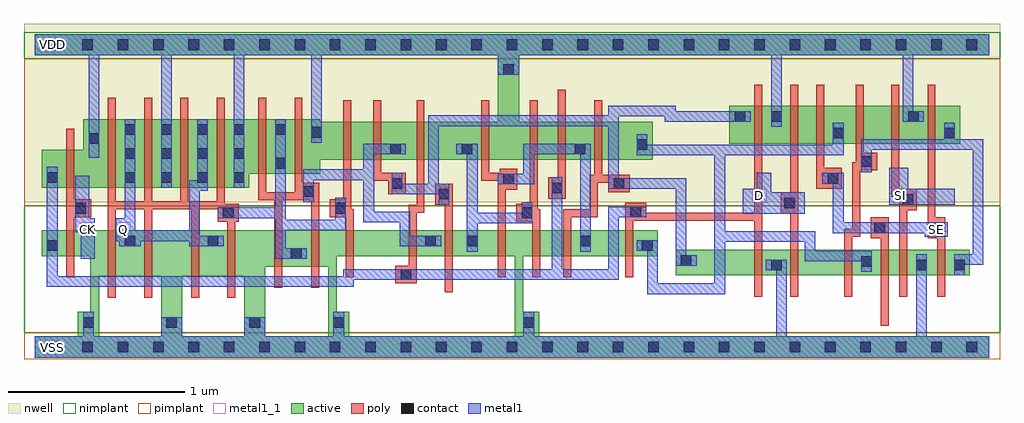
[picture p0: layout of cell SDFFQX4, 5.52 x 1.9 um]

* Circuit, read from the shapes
.subckt SDFFQX4 CK D Q SE SI VDD VSS
M1 VSS CK n1 VSS nfet w=0.145u l=0.045u
M2 Q n2 VSS VSS nfet w=0.26u l=0.045u m=4
M3 n2 n3 VSS VSS nfet w=0.205u l=0.045u m=2
M4 n4 n2 VSS VSS nfet w=0.145u l=0.045u
M5 n3 n1 n4 VSS nfet w=0.145u l=0.045u
M6 n5 n6 n3 VSS nfet w=0.145u l=0.045u
M7 VSS n7 n5 VSS nfet w=0.145u l=0.045u
M8 n8 n5 VSS VSS nfet w=0.145u l=0.045u
M9 n7 n6 n8 VSS nfet w=0.145u l=0.045u
M10 n9 n1 n7 VSS nfet w=0.145u l=0.045u
M11 VSS n1 n6 VSS nfet w=0.145u l=0.045u
M12 n10 D VSS VSS nfet w=0.145u l=0.045u
M13 n9 n11 n10 VSS nfet w=0.145u l=0.045u
M14 n12 SE n9 VSS nfet w=0.145u l=0.045u
M15 VSS SI n12 VSS nfet w=0.145u l=0.045u
M16 n11 SE VSS VSS nfet w=0.145u l=0.045u
M17 VDD CK n1 VDD pfet w=0.215u l=0.045u
M18 Q n2 VDD VDD pfet w=0.39u l=0.045u m=4
M19 n2 n3 VDD VDD pfet w=0.31u l=0.045u m=2
M20 n13 n2 VDD VDD pfet w=0.215u l=0.045u
M21 n3 n6 n13 VDD pfet w=0.215u l=0.045u
M22 n5 n1 n3 VDD pfet w=0.215u l=0.045u
M23 VDD n7 n5 VDD pfet w=0.215u l=0.045u
M24 n14 n5 VDD VDD pfet w=0.215u l=0.045u
M25 n7 n1 n14 VDD pfet w=0.215u l=0.045u
M26 n9 n6 n7 VDD pfet w=0.215u l=0.045u
M27 VDD n1 n6 VDD pfet w=0.215u l=0.045u
M28 n15 D VDD VDD pfet w=0.215u l=0.045u
M29 n9 SE n15 VDD pfet w=0.215u l=0.045u
M30 n16 n11 n9 VDD pfet w=0.215u l=0.045u
M31 VDD SI n16 VDD pfet w=0.215u l=0.045u
M32 n11 SE VDD VDD pfet w=0.215u l=0.045u
.ends

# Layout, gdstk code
import gdstk
lib = gdstk.Library(unit=1e-6, precision=5e-10)
def R(c, l, rs):  # rectangles x0, y0, x1, y1
    for r in rs: c.add(gdstk.rectangle(r[:2], r[2:], *l))
def A(c, l, x, y, w, h, nx, ny, dx, dy):  # array of equal rectangles
    R(c, l, [(x+i*dx, y+j*dy, x+i*dx+w, y+j*dy+h) for i in range(nx) for j in range(ny)])
def P(c, l, *ps):  # polygons
    for p in ps: c.add(gdstk.Polygon(p, *l))
active = (1, 0)
nwell = (2, 0)
poly = (3, 0)
nimplant = (4, 0)
pimplant = (5, 0)
contact = (6, 0)
metal1 = (7, 0)
metal1_1 = (7, 1)

sdffqx4 = lib.new_cell('SDFFQX4')
R(sdffqx4, active, [(3.625,0.405,5.29,0.55), (3.93,1.15,5.235,1.365)])
P(sdffqx4, active, [(0,1.77),(5.4,1.77),(5.4,1.65),(2.74,1.65),(2.74,1.275),(3.495,1.275),(3.495,1.06),(1.615,1.06),(1.615,0.98),(1.215,0.98),(1.215,0.9),(0.04,0.9),(0.04,1.115),(0.275,1.115),(0.275,1.29),(1.615,1.29),(1.615,1.275),(2.62,1.275),(2.62,1.65),(0,1.65)],
  [(0.04,0.66),(3.525,0.66),(3.525,0.515),(2.765,0.515),(2.765,0.2),(2.855,0.2),(2.855,0.06),(5.4,0.06),(5.4,-0.06),(0,-0.06),(0,0.06),(0.245,0.06),(0.245,0.2),(0.315,0.2),(0.315,0.4),(0.365,0.4),(0.365,0.06),(0.715,0.06),(0.715,0.4),(0.835,0.4),(0.835,0.06),(1.185,0.06),(1.185,0.4),(0.315,0.4),(0.315,0.455),(1.305,0.455),(1.305,0.06),(1.66,0.06),(1.66,0.455),(0.315,0.455),(0.315,0.515),(1.71,0.515),(1.71,0.2),(1.78,0.2),(1.78,0.06),(2.715,0.06),(2.715,0.515),(0.04,0.515)])
R(sdffqx4, nwell, [(-0.06,0.82,5.46,1.83)])
P(sdffqx4, poly, [(0.415,1.41),(0.46,1.41),(0.46,0.825),(0.62,0.825),(0.62,1.41),(0.665,1.41),(0.665,0.825),(0.825,0.825),(0.825,1.41),(0.87,1.41),(0.87,0.825),(1.03,0.825),(1.03,1.41),(1.075,1.41),(1.075,0.81),(1.155,0.81),(1.155,0.71),(1.135,0.71),(1.135,0.28),(1.09,0.28),(1.09,0.71),(1.035,0.71),(1.035,0.78),(0.93,0.78),(0.93,0.28),(0.885,0.28),(0.885,0.78),(0.665,0.78),(0.665,0.28),(0.62,0.28),(0.62,0.78),(0.46,0.78),(0.46,0.28),(0.415,0.28)],
  [(1.265,1.41),(1.31,1.41),(1.31,0.875),(1.47,0.875),(1.47,1.41),(1.515,1.41),(1.515,0.93),(1.61,0.93),(1.61,0.335),(1.565,0.335),(1.565,0.83),(1.4,0.83),(1.4,0.335),(1.355,0.335),(1.355,0.83),(1.265,0.83)],
  [(0.18,1.235),(0.225,1.235),(0.225,0.835),(0.32,0.835),(0.32,0.735),(0.225,0.735),(0.225,0.395),(0.18,0.395)],
  [(1.745,1.395),(1.79,1.395),(1.79,0.78),(1.805,0.78),(1.805,0.395),(1.76,0.395),(1.76,0.735),(1.67,0.735),(1.67,0.835),(1.745,0.835)],
  [(1.915,1.395),(1.96,1.395),(1.96,0.985),(2.1,0.985),(2.1,0.865),(2,0.865),(2,0.94),(1.915,0.94)],
  [(2.16,1.395),(2.205,1.395),(2.205,0.76),(2.16,0.76),(2.16,0.36),(2.04,0.36),(2.04,0.46),(2.115,0.46),(2.115,0.805),(2.16,0.805)],
  [(2.525,1.395),(2.57,1.395),(2.57,0.985),(2.63,0.985),(2.63,1.01),(2.73,1.01),(2.73,0.89),(2.665,0.89),(2.665,0.395),(2.62,0.395),(2.62,0.94),(2.525,0.94)],
  [(2.8,1.395),(2.845,1.395),(2.845,0.78),(2.86,0.78),(2.86,0.395),(2.815,0.395),(2.815,0.71),(2.725,0.71),(2.725,0.81),(2.8,0.81)],
  [(2.96,1.455),(3.005,1.455),(3.005,0.84),(2.905,0.84),(2.905,0.96),(2.96,0.96)],
  [(3.165,1.395),(3.21,1.395),(3.21,0.975),(3.365,0.975),(3.365,0.875),(3.245,0.875),(3.245,0.93),(3.185,0.93),(3.185,0.735),(3.035,0.735),(3.035,0.395),(2.99,0.395),(2.99,0.78),(3.14,0.78),(3.14,0.975),(3.165,0.975)],
  [(3.34,0.815),(3.46,0.815),(3.46,0.76),(4.07,0.76),(4.07,1.485),(4.115,1.485),(4.115,0.285),(4.07,0.285),(4.07,0.715),(3.385,0.715),(3.385,0.395),(3.34,0.395)],
  [(4.275,1.485),(4.32,1.485),(4.32,0.285),(4.275,0.285),(4.275,0.755),(4.22,0.755),(4.22,0.875),(4.275,0.875)],
  [(4.42,1.485),(4.465,1.485),(4.465,1.015),(4.565,1.015),(4.565,0.895),(4.42,0.895)],
  [(4.645,1.485),(4.69,1.485),(4.69,1.1),(4.765,1.1),(4.765,1),(4.67,1),(4.67,0.625),(4.625,0.625),(4.625,0.285),(4.58,0.285),(4.58,0.67),(4.625,0.67),(4.625,1.045),(4.645,1.045)],
  [(4.845,1.485),(4.89,1.485),(4.89,0.895),(4.99,0.895),(4.99,0.775),(4.935,0.775),(4.935,0.285),(4.89,0.285),(4.89,0.85),(4.845,0.85)],
  [(5.05,1.485),(5.095,1.485),(5.095,0.735),(5.15,0.735),(5.15,0.285),(5.105,0.285),(5.105,0.615),(5.05,0.615)],
  [(2.265,0.925),(2.365,0.925),(2.365,0.31),(2.32,0.31),(2.32,0.805),(2.265,0.805)],
  [(4.73,0.735),(4.83,0.735),(4.83,0.12),(4.785,0.12),(4.785,0.615),(4.73,0.615)])
R(sdffqx4, nimplant, [(-0.06,0.08,5.46,0.8), (-0.06,1.63,5.46,1.78)])
R(sdffqx4, pimplant, [(-0.06,-0.07,5.46,0.08), (-0.06,0.8,5.46,1.63)])
A(sdffqx4, contact, 0.07, -0.03, 0.06, 0.06, 27, 2, 0.2, 1.71)
A(sdffqx4, contact, 0.275, 0.11, 0.06, 0.06, 3, 1, 0.47, 0)
A(sdffqx4, contact, 0.51, 0.93, 0.06, 0.06, 4, 3, 0.205, 0.135)
R(sdffqx4, contact, [(1.69,0.11,1.75,0.17), (2.765,0.11,2.825,0.17), (2.07,0.38,2.13,0.44), (4.165,0.435,4.225,0.495), (4.985,0.435,5.045,0.495), (5.2,0.435,5.26,0.495), (4.675,0.455,4.735,0.515), (3.655,0.46,3.715,0.52), (1.45,0.5,1.51,0.56), (0.07,0.545,0.13,0.605), (3.435,0.545,3.495,0.605), (0.51,0.57,0.57,0.63), (0.98,0.57,1.04,0.63), (2.21,0.57,2.27,0.63), (2.445,0.57,2.505,0.63), (3.085,0.57,3.145,0.63), (4.75,0.645,4.81,0.705), (5.07,0.645,5.13,0.705), (1.065,0.73,1.125,0.79), (2.755,0.73,2.815,0.79), (3.37,0.735,3.43,0.795), (0.23,0.755,0.29,0.815), (1.7,0.755,1.76,0.815), (4.24,0.785,4.3,0.845), (4.91,0.805,4.97,0.865), (2.285,0.835,2.345,0.895), (1.52,0.85,1.58,0.91), (2.925,0.87,2.985,0.93), (2.02,0.895,2.08,0.955), (3.275,0.895,3.335,0.955), (2.65,0.92,2.71,0.98), (4.485,0.925,4.545,0.985), (0.07,0.93,0.13,0.99), (1.36,1.01,1.42,1.07), (4.675,1.02,4.735,1.08), (2.01,1.09,2.07,1.15), (2.415,1.09,2.475,1.15), (3.055,1.09,3.115,1.15), (3.405,1.115,3.465,1.175), (0.305,1.15,0.365,1.21), (4.515,1.18,4.575,1.24), (5.145,1.18,5.205,1.24), (1.565,1.185,1.625,1.245), (1.36,1.2,1.42,1.26), (3.96,1.275,4.02,1.335), (4.165,1.275,4.225,1.335), (4.94,1.275,5,1.335), (2.65,1.54,2.71,1.6)])
P(sdffqx4, metal1, [(0,1.77),(5.4,1.77),(5.4,1.65),(4.97,1.65),(4.97,1.335),(5.03,1.335),(5.03,1.275),(4.91,1.275),(4.91,1.65),(4.225,1.65),(4.225,1.245),(4.165,1.245),(4.165,1.65),(2.74,1.65),(2.74,1.54),(2.62,1.54),(2.62,1.65),(1.625,1.65),(1.625,1.155),(1.565,1.155),(1.565,1.65),(1.185,1.65),(1.185,0.9),(1.125,0.9),(1.125,1.65),(0.775,1.65),(0.775,0.9),(0.715,0.9),(0.715,1.65),(0.365,1.65),(0.365,1.07),(0.305,1.07),(0.305,1.65),(0,1.65)],
  [(0.07,1.02),(0.13,1.02),(0.13,0.4),(1.745,0.4),(1.745,0.44),(2.925,0.44),(2.925,0.96),(2.985,0.96),(2.985,0.44),(3.245,0.44),(3.245,0.795),(3.46,0.795),(3.46,0.735),(3.305,0.735),(3.305,0.38),(1.805,0.38),(1.805,0.34),(0.07,0.34)],
  [(0.51,1.29),(0.57,1.29),(0.57,0.66),(0.875,0.66),(0.875,0.945),(0.92,0.945),(0.92,1.29),(0.98,1.29),(0.98,0.885),(0.935,0.885),(0.935,0.63),(1.07,0.63),(1.07,0.57),(0.875,0.57),(0.875,0.6),(0.6,0.6),(0.6,0.57),(0.48,0.57),(0.48,0.6),(0.46,0.6),(0.46,0.73),(0.51,0.73)],
  [(0.23,0.97),(0.31,0.97),(0.31,0.73),(0.34,0.73),(0.34,0.5),(0.26,0.5),(0.26,0.65),(0.23,0.65)],
  [(1.36,1.29),(1.42,1.29),(1.42,0.72),(1.7,0.72),(1.7,0.845),(1.76,0.845),(1.76,0.66),(1.42,0.66),(1.42,0.56),(1.54,0.56),(1.54,0.5),(1.36,0.5),(1.36,0.73),(1.035,0.73),(1.035,0.79),(1.36,0.79)],
  [(3.245,1.365),(3.625,1.365),(3.625,1.335),(4.05,1.335),(4.05,1.275),(3.565,1.275),(3.565,1.305),(3.305,1.305),(3.305,0.955),(3.685,0.955),(3.685,0.52),(3.745,0.52),(3.745,0.46),(3.625,0.46),(3.625,0.895),(3.245,0.895),(3.245,1.25),(2.285,1.25),(2.285,0.925),(2.345,0.925),(2.345,0.805),(2.285,0.805),(2.285,0.865),(2.02,0.865),(2.02,0.985),(2.08,0.985),(2.08,0.925),(2.225,0.925),(2.225,1.31),(3.245,1.31)],
  [(1.86,1.15),(2.1,1.15),(2.1,1.09),(1.92,1.09),(1.92,0.765),(2.125,0.765),(2.125,0.63),(2.3,0.63),(2.3,0.57),(2.065,0.57),(2.065,0.705),(1.86,0.705),(1.86,0.945),(1.58,0.945),(1.58,0.82),(1.52,0.82),(1.52,1.005),(1.86,1.005)],
  [(2.385,1.15),(2.505,1.15),(2.505,0.76),(2.755,0.76),(2.755,0.82),(2.815,0.82),(2.815,0.7),(2.505,0.7),(2.505,0.54),(2.445,0.54),(2.445,1.09),(2.385,1.09)],
  [(2.765,1.15),(3.145,1.15),(3.145,0.54),(3.085,0.54),(3.085,1.09),(2.825,1.09),(2.825,0.92),(2.62,0.92),(2.62,0.98),(2.765,0.98)],
  [(3.405,1.205),(3.465,1.205),(3.465,1.145),(4.515,1.145),(4.515,1.27),(4.575,1.27),(4.575,1.085),(3.905,1.085),(3.905,0.655),(4.415,0.655),(4.415,0.545),(4.735,0.545),(4.735,0.425),(4.675,0.425),(4.675,0.485),(4.355,0.485),(4.355,0.595),(3.905,0.595),(3.905,0.3),(3.465,0.3),(3.465,0.545),(3.405,0.545),(3.405,0.605),(3.525,0.605),(3.525,0.36),(3.845,0.36),(3.845,1.085),(3.405,1.085)],
  [(5.145,1.27),(5.205,1.27),(5.205,1.175),(5.365,1.175),(5.365,0.465),(5.26,0.465),(5.26,0.405),(5.2,0.405),(5.2,0.525),(5.305,0.525),(5.305,1.115),(4.735,1.115),(4.735,0.99),(4.675,0.99),(4.675,1.175),(5.145,1.175)],
  [(4.085,0.985),(4.165,0.985),(4.165,0.875),(4.355,0.875),(4.355,0.755),(4.005,0.755),(4.005,0.895),(4.085,0.895)],
  [(4.455,0.985),(4.575,0.985),(4.575,0.705),(5.165,0.705),(5.165,0.625),(5.035,0.625),(5.035,0.645),(4.515,0.645),(4.515,0.925),(4.455,0.925)],
  [(4.835,1.015),(4.94,1.015),(4.94,0.895),(5.205,0.895),(5.205,0.805),(4.835,0.805)],
  [(4.135,0.495),(4.255,0.495),(4.255,0.06),(4.985,0.06),(4.985,0.525),(5.045,0.525),(5.045,0.06),(5.4,0.06),(5.4,-0.06),(0,-0.06),(0,0.06),(0.275,0.06),(0.275,0.2),(0.335,0.2),(0.335,0.06),(0.715,0.06),(0.715,0.17),(0.835,0.17),(0.835,0.06),(1.185,0.06),(1.185,0.17),(1.305,0.17),(1.305,0.06),(1.69,0.06),(1.69,0.2),(1.75,0.2),(1.75,0.06),(2.765,0.06),(2.765,0.2),(2.825,0.2),(2.825,0.06),(4.195,0.06),(4.195,0.435),(4.135,0.435)])
R(sdffqx4, metal1_1, [(0.06,-0.04,0.14,0.04), (0.26,0.625,0.34,0.705), (0.46,0.625,0.54,0.705), (5.06,0.625,5.14,0.705), (4.06,0.815,4.14,0.895), (4.86,0.815,4.94,0.895), (0.06,1.67,0.14,1.75)])
sdffqx4.add(gdstk.Label('SE', (5.1,0.665), layer=7, texttype=1))
sdffqx4.add(gdstk.Label('SI', (4.9,0.855), layer=7, texttype=1))
sdffqx4.add(gdstk.Label('D', (4.1,0.855), layer=7, texttype=1))
sdffqx4.add(gdstk.Label('CK', (0.3,0.665), layer=7, texttype=1))
sdffqx4.add(gdstk.Label('Q', (0.5,0.665), layer=7, texttype=1))
sdffqx4.add(gdstk.Label('VDD', (0.1,1.71), layer=7, texttype=1))
sdffqx4.add(gdstk.Label('VSS', (0.1,0), layer=7, texttype=1))
sdffqx4.add(gdstk.Label('SDFFQX4', (0,0), layer=63, texttype=0))

lib.write_gds('SDFFQX4.gds')
